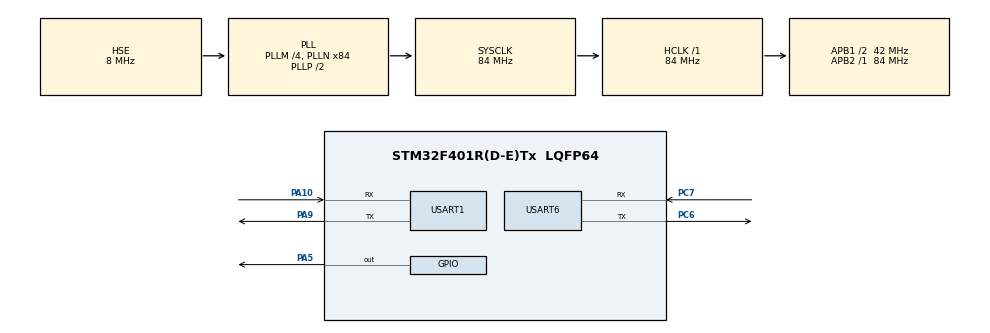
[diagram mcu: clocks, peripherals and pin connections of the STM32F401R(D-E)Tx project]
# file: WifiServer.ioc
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Mcu.Family=STM32F4
Mcu.Name=STM32F401R(D-E)Tx
Mcu.Package=LQFP64
NVIC.PriorityGroup=NVIC_PRIORITYGROUP_4
NVIC.USART1_IRQn=true\:0\:0\:false\:false\:true\:true\:true\:true
PA10.Mode=Asynchronous
PA10.Signal=USART1_RX
PA13.Mode=Serial_Wire
PA13.Signal=SYS_JTMS-SWDIO
PA14.Mode=Serial_Wire
PA14.Signal=SYS_JTCK-SWCLK
PA5.Signal=GPIO_Output
PA9.Mode=Asynchronous
PA9.Signal=USART1_TX
PC6.Mode=Asynchronous
PC6.Signal=USART6_TX
PC7.Mode=Asynchronous
PC7.Signal=USART6_RX
PH0\ -\ OSC_IN.Mode=HSE-External-Clock-Source
PH0\ -\ OSC_IN.Signal=RCC_OSC_IN
PH1\ -\ OSC_OUT.Mode=HSE-External-Clock-Source
PH1\ -\ OSC_OUT.Signal=RCC_OSC_OUT
ProjectManager.HeapSize=0x200
ProjectManager.StackSize=0x400
ProjectManager.TargetToolchain=STM32CubeIDE
RCC.48MHZClocksFreq_Value=42000000
RCC.AHBFreq_Value=84000000
RCC.APB1CLKDivider=RCC_HCLK_DIV2
RCC.APB1Freq_Value=42000000
RCC.APB1TimFreq_Value=84000000
RCC.APB2Freq_Value=84000000
RCC.APB2TimFreq_Value=84000000
RCC.CortexFreq_Value=84000000
RCC.HCLKFreq_Value=84000000
RCC.HSE_VALUE=8000000
RCC.HSI_VALUE=16000000
RCC.LSE_VALUE=32768
RCC.PLLM=4
RCC.PLLN=84
RCC.PLLSourceVirtual=RCC_PLLSOURCE_HSE
RCC.SYSCLKFreq_VALUE=84000000
RCC.SYSCLKSource=RCC_SYSCLKSOURCE_PLLCLK
RCC.VCOOutputFreq_Value=168000000
USART1.VirtualMode=VM_ASYNC
USART6.VirtualMode=VM_ASYNC
board=custom

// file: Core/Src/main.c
/* USER CODE BEGIN Header */
/**
  ******************************************************************************
  * @file           : main.c
  * @brief          : Main program body
  ******************************************************************************
  * @attention
  *
  * Copyright (c) 2026 STMicroelectronics.
  * All rights reserved.
  *
  * This software is licensed under terms that can be found in the LICENSE file
  * in the root directory of this software component.
  * If no LICENSE file comes with this software, it is provided AS-IS.
  *
  ******************************************************************************
  */
/* USER CODE END Header */
#include "main.h"

/* USER CODE BEGIN Includes */
#include <string.h>
#include <stdio.h>
/* USER CODE END Includes */

/* USER CODE BEGIN PTD */
//HTTP Server Related
typedef enum { CLOSED, CONNECTED, DATA } connection_state;
typedef struct {
	volatile connection_state state;   // changed inside the UART interrupt -> volatile
	char data[128];
} connection;

/* USER CODE END PTD */

/* USER CODE BEGIN PD */
#define WIFI_SSID "SNUC"
#define WIFI_PASS "snu12345"
/* USER CODE END PD */

UART_HandleTypeDef huart1;
UART_HandleTypeDef huart6;

/* USER CODE BEGIN PV */
connection connections[5];
uint8_t byteRecieved;
char request[128];
char tmpbuf[256];
volatile uint8_t wifiDisconnected = 0;   // set in interrupt, handled in main loop

/* USER CODE END PV */

void SystemClock_Config(void);
static void MX_GPIO_Init(void);
static void MX_USART1_UART_Init(void);
static void MX_USART6_UART_Init(void);
/* USER CODE BEGIN PFP */
void onWifiDisconnect(void);
int initServer(void);
int sendHTML(char content[], int link);
void handleRouting(char url[], int client);
/* USER CODE END PFP */

/* USER CODE BEGIN 0 */
// UART Related
void sendUART(UART_HandleTypeDef *huart, char inp[]) {
    HAL_UART_Transmit(huart, (uint8_t *)inp, strlen(inp), HAL_MAX_DELAY);
    HAL_UART_Transmit(huart, (uint8_t *)"\r\n", 2, HAL_MAX_DELAY);
}

void recieveUART(UART_HandleTypeDef *huart, char *buf, int size) {
	uint8_t c;
	int lInd = 0;
	while (1) {
		if (HAL_UART_Receive(huart, &c, 1, HAL_MAX_DELAY) == HAL_OK) {
			if ((c == '\r') || (c == '\n')) {
				if (lInd > 0) {
					buf[lInd] = '\0';
					return;
				}
			} else if (lInd < size - 1) {
				buf[lInd++] = c;
			}
		}
	}
}

// Wifi Related
int sendATCommand(UART_HandleTypeDef *huart, char atCMD[], char *output, int outputSize) {
	output[0] = '\0';
	sendUART(huart, atCMD);
	char recBuf[64];
	while (1) {
		recieveUART(huart, recBuf, sizeof(recBuf));
		strncat(output, recBuf, outputSize - strlen(output) - 1);
		strncat(output, "\r\n", outputSize - strlen(output) - 1);
		if (strcmp(recBuf, "OK") == 0) {
			return 1;
		} else if (strcmp(recBuf, "ERROR") == 0 || strcmp(recBuf, "FAIL") == 0) {
			return 0;
		}
	}
}

int initWifi(UART_HandleTypeDef *huart) {
	HAL_Delay(2000);
	__HAL_UART_CLEAR_OREFLAG(huart);
	char buf[32];
	sendATCommand(huart, "ATE0", buf, sizeof(buf));
	return sendATCommand(huart, "AT", buf, sizeof(buf));
}

int setMode(UART_HandleTypeDef *huart, char mode[], char *outBuf, int outBufSize) {
	outBuf[0] = '\0';
	char toSend[16];
	if (strcmp(mode, "STATION") == 0) {
		strcpy(toSend, "AT+CWMODE=1");
	} else if (strcmp(mode, "AP") == 0) {
		strcpy(toSend, "AT+CWMODE=2");
	} else if (strcmp(mode, "STATION_AP") == 0) {
		strcpy(toSend, "AT+CWMODE=3");
	} else {
		return -1;
	}
	return sendATCommand(huart, toSend, outBuf, outBufSize);
}

int joinAP(UART_HandleTypeDef *huart, char ssid[], char password[], char *outBuf, int outBufSize) {
	outBuf[0] = '\0';
	char toSend[128];
	snprintf(toSend, sizeof(toSend), "AT+CWJAP=\"%s\",\"%s\"", ssid, password);
	return sendATCommand(huart, toSend, outBuf, outBufSize);
}

int getMAC(UART_HandleTypeDef *huart, char *macBuf, int macBufSize) {
	macBuf[0] = '\0';
	char outBuf[256];
	int ret = sendATCommand(huart, "AT+CIFSR", outBuf, sizeof(outBuf));
	if (ret) {
		char *mac = strstr(outBuf, "STAMAC");
		if (mac == NULL) {
			return 0;
		} else {
			mac += 8;
			int lastInd = 0;
			while (lastInd < macBufSize - 1 && *mac != '\0') {
				if (*mac == '\"') break;
				macBuf[lastInd++] = *mac;
				mac++;
			}
			macBuf[lastInd] = '\0';
		}
	}
	return ret;
}

int getIP(UART_HandleTypeDef *huart, char *ipBuf, int ipBufSize) {
	ipBuf[0] = '\0';
	char outBuf[256];
	int ret = sendATCommand(huart, "AT+CIFSR", outBuf, sizeof(outBuf));
	if (ret) {
		char *ip = strstr(outBuf, "STAIP");
		if (ip == NULL) {
			return 0;
		} else {
			ip += 7;
			int lastInd = 0;
			while (lastInd < ipBufSize - 1 && *ip != '\0') {
				if (*ip == '\"') break;
				ipBuf[lastInd++] = *ip;
				ip++;
			}
			ipBuf[lastInd] = '\0';
		}
	}
	return ret;
}

//HTTP Server Related
void HAL_UART_RxCpltCallback(UART_HandleTypeDef *huart) {
	if (huart->Instance == USART1) {
		int ind = strlen(request);
		if ((byteRecieved != '\r' && byteRecieved != '\n') && (ind < (int)sizeof(request) - 1)) {
			request[ind++] = byteRecieved;
			request[ind] = '\0';
		} else {
			if (strstr(request, "WIFI DISCONNECT") != NULL) {
				// Don't do blocking work inside an interrupt - just flag it
				wifiDisconnected = 1;
			} else if (strstr(request, "CONNECT") != NULL) {
				if (request[0] >= '0' && request[0] <= '4' && request[1] == ',')
					connections[request[0] - '0'].state = CONNECTED;
			} else if (strstr(request, "CLOSED") != NULL) {
				if (request[0] >= '0' && request[0] <= '4' && request[1] == ',')
					connections[request[0] - '0'].state = CLOSED;
			} else {
				char *req = strstr(request, "+IPD");
				if (req != NULL) {
					req += 5;
					int link = *req - '0';
					req += 2;
					while (*req != ':' && *req != '\0') {
						req++;
					}
					if (link >= 0 && link <= 4 && *req == ':') {
						req += 1;
						if (connections[link].state != DATA) {
							strncpy(connections[link].data, req, sizeof(connections[link].data) - 1);
							connections[link].data[sizeof(connections[link].data) - 1] = '\0';
							connections[link].state = DATA;
						}
					}
				}
			}
			request[0] = '\0';
		}
		HAL_UART_Receive_IT(&huart1, &byteRecieved, 1);
	}
}

void HAL_UART_ErrorCallback(UART_HandleTypeDef *huart) {
	if (huart->Instance == USART1) {
		request[0] = '\0';
		HAL_UART_Receive_IT(&huart1, &byteRecieved, 1);
	}
}

int initServer(void) {
	char outBuf[32];
	int r1 = sendATCommand(&huart1, "AT+CIPMUX=1", outBuf, sizeof(outBuf));
	if (!r1) {
		return r1;
	}
	r1 = sendATCommand(&huart1, "AT+CIPSERVER=1,80", outBuf, sizeof(outBuf));
	HAL_UART_Receive_IT(&huart1, &byteRecieved, 1);
	return r1;
}

int sendHTML(char content[], int link) {
	char out[1024];
	char toSend[32];
	int len = snprintf(out, sizeof(out),
			"HTTP/1.1 200 OK\r\nContent-Type: text/html\r\nContent-Length: %d\r\nConnection: close\r\n\r\n%s",
			(int)strlen(content), content);
	if (len >= (int)sizeof(out)) len = sizeof(out) - 1;
	snprintf(toSend, sizeof(toSend), "AT+CIPSEND=%d,%d", link, len);

	HAL_UART_AbortReceive(&huart1);

	int ret = sendATCommand(&huart1, toSend, tmpbuf, sizeof(tmpbuf));
	if (ret) {
		uint8_t c;
		do {
			HAL_UART_Receive(&huart1, &c, 1, HAL_MAX_DELAY);
		} while (c != '>');

		HAL_UART_Transmit(&huart1, (uint8_t *)out, len, HAL_MAX_DELAY);
		__HAL_UART_CLEAR_OREFLAG(&huart1);

		char recBuf[64];
		do {
			recieveUART(&huart1, recBuf, sizeof(recBuf));
		} while (strcmp(recBuf, "SEND OK") != 0 && strcmp(recBuf, "SEND FAIL") != 0 && strcmp(recBuf, "ERROR") != 0);
		ret = (strcmp(recBuf, "SEND OK") == 0);
	}

	snprintf(toSend, sizeof(toSend), "AT+CIPCLOSE=%d", link);
	sendATCommand(&huart1, toSend, tmpbuf, sizeof(tmpbuf));
	connections[link].state = CLOSED;

	request[0] = '\0';
	HAL_UART_Receive_IT(&huart1, &byteRecieved, 1);
	return ret;
}

void handleResponse(void (*respHandler)(char *, int)) {
	for (int i = 0; i < 5; i++) {
		if (connections[i].state == DATA) {
			char *url = strstr(connections[i].data, "GET ");
			if (url != NULL) {
				url += 4;
				char urlRec[32];
				int lInd = 0;
				// stop at space, end of string, or when the buffer is full
				while (*url != ' ' && *url != '\0' && lInd < (int)sizeof(urlRec) - 1) {
					urlRec[lInd++] = *url++;
				}
				urlRec[lInd] = '\0';
				respHandler(urlRec, i);
			} else {
				sendHTML("Not found", i);
			}
		}
	}
}

void handleRouting(char url[], int client) {
	char toPrint[48];
	snprintf(toPrint, sizeof(toPrint), "%d: GET %s", client, url);
	sendUART(&huart6, toPrint);
	if (!strcmp(url, "/on")) {
		HAL_GPIO_WritePin(GPIOA, GPIO_PIN_5, GPIO_PIN_SET);
		sendHTML("LED ON", client);
	} else if (!strcmp(url, "/off")) {
		HAL_GPIO_WritePin(GPIOA, GPIO_PIN_5, GPIO_PIN_RESET);
		sendHTML("LED OFF", client);
	} else if (!strcmp(url, "/toggle")) {
		HAL_GPIO_TogglePin(GPIOA, GPIO_PIN_5);
		sendHTML("LED Toggle", client);
	} else if (!strcmp(url,"/")) {
		sendHTML("<h1>Hello from STM32</h1>", client);
	} else {
		sendHTML("Page not found", client);
	}
}

void onWifiDisconnect(void) {
	HAL_UART_AbortReceive(&huart1);
	sendUART(&huart6, "Wifi Disconnected. Reconnecting...");
	for (int i = 0; i < 5; i++) {
		connections[i].state = CLOSED;
	}
	char data[32];
	data[0] = '\0';
	while (strcmp(data, "WIFI GOT IP")) {
		recieveUART(&huart1, data, sizeof(data));
	}
	sendUART(&huart6, "Connected. Reinitializing Server");
	initServer();
	sendUART(&huart6, "Server initialized successfully");
}

/* USER CODE END 0 */

int main(void)
{

  /* MCU Configuration--------------------------------------------------------*/

  /* Reset of all peripherals, Initializes the Flash interface and the Systick. */
  HAL_Init();

  /* Configure the system clock */
  SystemClock_Config();

  /* Initialize all configured peripherals */
  MX_GPIO_Init();
  MX_USART1_UART_Init();
  MX_USART6_UART_Init();
  /* USER CODE BEGIN 2 */
  char buf[32];
  sendUART(&huart6, "Initializing Wifi...");
  initWifi(&huart1);
  sendUART(&huart6, "Initialized Wifi");
  setMode(&huart1, "STATION", buf, sizeof(buf));

  sendUART(&huart6, "Connecting to Wifi...");
  int ret = joinAP(&huart1, WIFI_SSID, WIFI_PASS, buf, sizeof(buf));
  if (ret) {
	  sendUART(&huart6, "Connected to Wifi Successfully");
	  char ip[32];
	  if (getIP(&huart1, ip, sizeof(ip))) {
		  sendUART(&huart6, "IP Address: ");
		  sendUART(&huart6,ip);
		  initServer();
		  sendUART(&huart6, "Server Initialized successfully");
	  } else {
		  sendUART(&huart6, "Failed to get IP");
	  }
  } else {
	  sendUART(&huart6, "Failed to connect to wifi");
  }
  /* USER CODE END 2 */

  /* Infinite loop */
  /* USER CODE BEGIN WHILE */
  while (1)
  {
	  if (ret) {
		  if (wifiDisconnected) {
			  wifiDisconnected = 0;
			  onWifiDisconnect();
		  }
		  handleResponse(handleRouting);
	  }
    /* USER CODE END WHILE */

  }
}

void SystemClock_Config(void)
{
  RCC_OscInitTypeDef RCC_OscInitStruct = {0};
  RCC_ClkInitTypeDef RCC_ClkInitStruct = {0};

  /** Configure the main internal regulator output voltage
  */
  __HAL_RCC_PWR_CLK_ENABLE();
  __HAL_PWR_VOLTAGESCALING_CONFIG(PWR_REGULATOR_VOLTAGE_SCALE2);

  /** Initializes the RCC Oscillators according to the specified parameters
  * in the RCC_OscInitTypeDef structure.
  */
  RCC_OscInitStruct.OscillatorType = RCC_OSCILLATORTYPE_HSE;
  RCC_OscInitStruct.HSEState = RCC_HSE_BYPASS;
  RCC_OscInitStruct.PLL.PLLState = RCC_PLL_ON;
  RCC_OscInitStruct.PLL.PLLSource = RCC_PLLSOURCE_HSE;
  RCC_OscInitStruct.PLL.PLLM = 4;
  RCC_OscInitStruct.PLL.PLLN = 84;
  RCC_OscInitStruct.PLL.PLLP = RCC_PLLP_DIV2;
  RCC_OscInitStruct.PLL.PLLQ = 4;
  if (HAL_RCC_OscConfig(&RCC_OscInitStruct) != HAL_OK)
  {
    Error_Handler();
  }

  /** Initializes the CPU, AHB and APB buses clocks
  */
  RCC_ClkInitStruct.ClockType = RCC_CLOCKTYPE_HCLK|RCC_CLOCKTYPE_SYSCLK
                              |RCC_CLOCKTYPE_PCLK1|RCC_CLOCKTYPE_PCLK2;
  RCC_ClkInitStruct.SYSCLKSource = RCC_SYSCLKSOURCE_PLLCLK;
  RCC_ClkInitStruct.AHBCLKDivider = RCC_SYSCLK_DIV1;
  RCC_ClkInitStruct.APB1CLKDivider = RCC_HCLK_DIV2;
  RCC_ClkInitStruct.APB2CLKDivider = RCC_HCLK_DIV1;

  if (HAL_RCC_ClockConfig(&RCC_ClkInitStruct, FLASH_LATENCY_2) != HAL_OK)
  {
    Error_Handler();
  }
}

static void MX_USART1_UART_Init(void)
{

  huart1.Instance = USART1;
  huart1.Init.BaudRate = 115200;
  huart1.Init.WordLength = UART_WORDLENGTH_8B;
  huart1.Init.StopBits = UART_STOPBITS_1;
  huart1.Init.Parity = UART_PARITY_NONE;
  huart1.Init.Mode = UART_MODE_TX_RX;
  huart1.Init.HwFlowCtl = UART_HWCONTROL_NONE;
  huart1.Init.OverSampling = UART_OVERSAMPLING_16;
  if (HAL_UART_Init(&huart1) != HAL_OK)
  {
    Error_Handler();
  }

}

static void MX_USART6_UART_Init(void)
{

  huart6.Instance = USART6;
  huart6.Init.BaudRate = 115200;
  huart6.Init.WordLength = UART_WORDLENGTH_8B;
  huart6.Init.StopBits = UART_STOPBITS_1;
  huart6.Init.Parity = UART_PARITY_NONE;
  huart6.Init.Mode = UART_MODE_TX_RX;
  huart6.Init.HwFlowCtl = UART_HWCONTROL_NONE;
  huart6.Init.OverSampling = UART_OVERSAMPLING_16;
  if (HAL_UART_Init(&huart6) != HAL_OK)
  {
    Error_Handler();
  }

}

static void MX_GPIO_Init(void)
{
  GPIO_InitTypeDef GPIO_InitStruct = {0};

  /* GPIO Ports Clock Enable */
  __HAL_RCC_GPIOH_CLK_ENABLE();
  __HAL_RCC_GPIOA_CLK_ENABLE();
  __HAL_RCC_GPIOC_CLK_ENABLE();

  /*Configure GPIO pin Output Level */
  HAL_GPIO_WritePin(GPIOA, GPIO_PIN_5, GPIO_PIN_RESET);

  /*Configure GPIO pin : PA5 */
  GPIO_InitStruct.Pin = GPIO_PIN_5;
  GPIO_InitStruct.Mode = GPIO_MODE_OUTPUT_PP;
  GPIO_InitStruct.Pull = GPIO_NOPULL;
  GPIO_InitStruct.Speed = GPIO_SPEED_FREQ_LOW;
  HAL_GPIO_Init(GPIOA, &GPIO_InitStruct);

}

void Error_Handler(void)
{
  __disable_irq();
  while (1)
  {
  }
}
